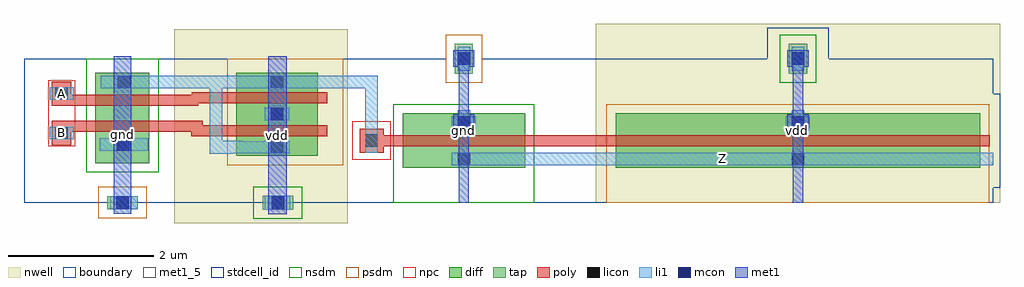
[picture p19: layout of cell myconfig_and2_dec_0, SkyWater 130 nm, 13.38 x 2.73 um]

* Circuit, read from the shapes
.subckt myconfig_and2_dec_0 A B Z gnd vdd
XM1 n1 B gnd gnd sky130_fd_pr__nfet_01v8 w=0.74 l=0.15
XM2 myconfig_pinv_dec_0_1/A A n1 gnd sky130_fd_pr__nfet_01v8 w=0.74 l=0.15
XM3 gnd myconfig_pinv_dec_0_1/A Z gnd sky130_fd_pr__nfet_01v8 w=1.68 l=0.15
XM4 vdd B myconfig_pinv_dec_0_1/A vdd sky130_fd_pr__pfet_01v8 w=1.12 l=0.15
XM5 myconfig_pinv_dec_0_1/A A vdd vdd sky130_fd_pr__pfet_01v8 w=1.12 l=0.15
XM6 vdd myconfig_pinv_dec_0_1/A Z vdd sky130_fd_pr__pfet_01v8 w=5 l=0.15
.ends

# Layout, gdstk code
from math import pi, radians
import gdstk
lib = gdstk.Library(unit=1e-6, precision=1e-09)
def R(c, l, rs):  # rectangles x0, y0, x1, y1
    for r in rs: c.add(gdstk.rectangle(r[:2], r[2:], *l))
nwell = (64, 20)
diff = (65, 20)
tap = (65, 44)
poly = (66, 20)
licon = (66, 44)
li1 = (67, 20)
mcon = (67, 44)
met1_5 = (68, 5)
met1 = (68, 20)
stdcell_id = (81, 4)
nsdm = (93, 44)
psdm = (94, 20)
npc = (95, 20)
boundary = (235, 4)

sky130_fd_bd_sram__openr = lib.new_cell('sky130_fd_bd_sram__openram_dp_nand2_dec')
R(sky130_fd_bd_sram__openr, nwell, [(2.06,-0.28,4.44,2.38)])
R(sky130_fd_bd_sram__openr, diff, [(0.98,0.54,1.72,1.78), (2.91,0.64,4.03,1.78)])
R(sky130_fd_bd_sram__openr, tap, [(3.27,-0.095,3.69,0.095), (1.14,-0.09,1.56,0.09)])
R(sky130_fd_bd_sram__openr, poly, [(0.38,0.79,0.65,0.97), (2.29,0.91,4.16,0.97), (0.38,0.97,4.16,1.06), (0.38,1.06,2.45,1.12), (0.38,1.33,2.39,1.36), (0.38,1.36,4.16,1.48), (0.38,1.48,0.65,1.66), (2.3,1.48,4.16,1.51)])
R(sky130_fd_bd_sram__openr, licon, [(1.265,-0.085,1.435,0.085), (3.395,-0.085,3.565,0.085), (3.385,0.68,3.555,0.85), (1.295,0.71,1.465,0.88), (0.43,0.87,0.6,1.04), (3.385,1.13,3.555,1.3), (0.43,1.41,0.6,1.58), (1.285,1.57,1.455,1.74), (3.385,1.57,3.555,1.74)])
R(sky130_fd_bd_sram__openr, li1, [(3.3,-0.095,3.65,0.095), (1.18,-0.09,1.56,0.09), (2.545,0.67,2.86,0.675), (2.545,0.675,3.425,0.68), (2.545,0.68,3.64,0.845), (1.04,0.71,1.7,0.88), (2.545,0.845,2.99,0.85), (3.3,0.845,3.64,0.85), (2.545,0.85,2.715,1.57), (0.35,0.87,0.68,1.04), (0.35,0.87,0.68,1.04), (3.3,1.13,3.635,1.3), (0.35,1.41,0.68,1.58), (0.35,1.41,0.68,1.58), (1.05,1.57,4.44,1.74), (1.05,1.57,4.44,1.74)])
R(sky130_fd_bd_sram__openr, mcon, [(1.265,-0.085,1.435,0.085), (3.395,-0.085,3.565,0.085), (1.27,0.71,1.44,0.88), (3.385,1.13,3.555,1.3)])
R(sky130_fd_bd_sram__openr, met1_5, [(3.35,-0.16,3.6,2.01), (1.23,-0.15,1.47,2.01)])
R(sky130_fd_bd_sram__openr, met1, [(3.35,-0.16,3.6,2.01), (3.35,-0.16,3.6,2.01), (1.23,-0.15,1.47,2.01), (1.23,-0.15,1.47,2.01)])
R(sky130_fd_bd_sram__openr, nsdm, [(3.145,-0.22,3.815,0.22), (0.855,0.415,1.845,1.975)])
R(sky130_fd_bd_sram__openr, psdm, [(1.015,-0.215,1.685,0.215), (2.785,0.515,4.38,1.975)])
R(sky130_fd_bd_sram__openr, npc, [(0.33,0.77,0.7,1.68)])
R(sky130_fd_bd_sram__openr, boundary, [(0,0,4.38,1.975)])
sky130_fd_bd_sram__openr.add(gdstk.Label('GND', (1.34,0.41), layer=68, texttype=16))
sky130_fd_bd_sram__openr.add(gdstk.Label('VDD', (3.48,0.47), layer=68, texttype=16))
sky130_fd_bd_sram__openr.add(gdstk.Label('B', (0.515,0.955), layer=67, texttype=16))
sky130_fd_bd_sram__openr.add(gdstk.Label('A', (0.515,1.495), layer=67, texttype=16))
sky130_fd_bd_sram__openr.add(gdstk.Label('Z', (4.27,1.655), layer=67, texttype=16))
sky130_fd_bd_sram__openr.add(gdstk.Label('A', (0.515,1.495), layer=67, texttype=5))
sky130_fd_bd_sram__openr.add(gdstk.Label('B', (0.515,0.955), layer=67, texttype=5))
sky130_fd_bd_sram__openr.add(gdstk.Label('Z', (2.745,1.655), layer=67, texttype=5))
sky130_fd_bd_sram__openr.add(gdstk.Label('vdd', (3.475,0.925), layer=68, texttype=5))
sky130_fd_bd_sram__openr.add(gdstk.Label('gnd', (1.35,0.93), layer=68, texttype=5))

myconfig_contact_11 = lib.new_cell('myconfig_contact_11')
R(myconfig_contact_11, nwell, [(-0.295,-0.255,0.545,0.585)])
R(myconfig_contact_11, diff, [(0,0.02,0.25,0.31)])
R(myconfig_contact_11, licon, [(0.04,0.08,0.21,0.25)])
R(myconfig_contact_11, li1, [(0.04,0,0.21,0.33)])
R(myconfig_contact_11, stdcell_id, [(-0.295,-0.255,0.545,0.585)])
R(myconfig_contact_11, psdm, [(-0.125,-0.105,0.375,0.435)])
R(myconfig_contact_11, boundary, [(-0.295,-0.255,0.545,0.585)])

myconfig_pmos_m1_w5_000_ = lib.new_cell('myconfig_pmos_m1_w5_000_sli_dli_da_p')
R(myconfig_pmos_m1_w5_000_, nwell, [(-0.27,-0.27,1.02,5.27)])
R(myconfig_pmos_m1_w5_000_, diff, [(0,0,0.75,5)])
R(myconfig_pmos_m1_w5_000_, poly, [(0.3,-0.13,0.45,5.13), (0.3,-0.13,0.45,5.13)])
R(myconfig_pmos_m1_w5_000_, li1, [(0.04,2.335,0.21,2.665), (0.54,2.335,0.71,2.665)])
R(myconfig_pmos_m1_w5_000_, stdcell_id, [(-0.27,-0.27,1.02,5.27)])
R(myconfig_pmos_m1_w5_000_, psdm, [(-0.125,-0.125,0.875,5.125)])
R(myconfig_pmos_m1_w5_000_, boundary, [(-0.27,-0.27,1.02,5.27)])
myconfig_pmos_m1_w5_000_.add(gdstk.Reference(myconfig_contact_11, (0,2.335)))
myconfig_pmos_m1_w5_000_.add(gdstk.Reference(myconfig_contact_11, (0.5,2.335)))
myconfig_pmos_m1_w5_000_.add(gdstk.Label('G', (0.375,2.5), layer=66, texttype=5))
myconfig_pmos_m1_w5_000_.add(gdstk.Label('S', (0.125,2.5), layer=67, texttype=5))
myconfig_pmos_m1_w5_000_.add(gdstk.Label('D', (0.625,2.5), layer=67, texttype=5))

myconfig_contact_10 = lib.new_cell('myconfig_contact_10')
R(myconfig_contact_10, diff, [(0,0.02,0.25,0.31)])
R(myconfig_contact_10, licon, [(0.04,0.08,0.21,0.25)])
R(myconfig_contact_10, li1, [(0.04,0,0.21,0.33)])
R(myconfig_contact_10, stdcell_id, [(-0.125,-0.105,0.375,0.435)])
R(myconfig_contact_10, nsdm, [(-0.125,-0.105,0.375,0.435)])
R(myconfig_contact_10, boundary, [(-0.125,-0.105,0.375,0.435)])

myconfig_nmos_m1_w1_680_ = lib.new_cell('myconfig_nmos_m1_w1_680_sli_dli_da_p')
R(myconfig_nmos_m1_w1_680_, diff, [(0,0,0.75,1.68)])
R(myconfig_nmos_m1_w1_680_, poly, [(0.3,-0.13,0.45,1.81), (0.3,-0.13,0.45,1.81)])
R(myconfig_nmos_m1_w1_680_, li1, [(0.04,0.675,0.21,1.005), (0.54,0.675,0.71,1.005)])
R(myconfig_nmos_m1_w1_680_, stdcell_id, [(-0.125,-0.13,0.875,1.81)])
R(myconfig_nmos_m1_w1_680_, nsdm, [(-0.125,-0.125,0.875,1.805)])
R(myconfig_nmos_m1_w1_680_, boundary, [(-0.125,-0.13,0.875,1.81)])
myconfig_nmos_m1_w1_680_.add(gdstk.Reference(myconfig_contact_10, (0,0.675)))
myconfig_nmos_m1_w1_680_.add(gdstk.Reference(myconfig_contact_10, (0.5,0.675)))
myconfig_nmos_m1_w1_680_.add(gdstk.Label('G', (0.375,0.84), layer=66, texttype=5))
myconfig_nmos_m1_w1_680_.add(gdstk.Label('S', (0.125,0.84), layer=67, texttype=5))
myconfig_nmos_m1_w1_680_.add(gdstk.Label('D', (0.625,0.84), layer=67, texttype=5))

myconfig_contact_12 = lib.new_cell('myconfig_contact_12')
R(myconfig_contact_12, nwell, [(-0.295,-0.215,0.545,0.625)])
R(myconfig_contact_12, tap, [(0,0,0.25,0.41)])
R(myconfig_contact_12, licon, [(0.04,0.12,0.21,0.29)])
R(myconfig_contact_12, li1, [(0.04,0.04,0.21,0.37)])
R(myconfig_contact_12, stdcell_id, [(-0.295,-0.215,0.545,0.625)])
R(myconfig_contact_12, nsdm, [(-0.125,-0.125,0.375,0.535)])
R(myconfig_contact_12, boundary, [(-0.295,-0.215,0.545,0.625)])

myconfig_contact_13 = lib.new_cell('myconfig_contact_13')
R(myconfig_contact_13, li1, [(0.06,0,0.23,0.33)])
R(myconfig_contact_13, mcon, [(0.06,0.08,0.23,0.25)])
R(myconfig_contact_13, met1, [(0,0.05,0.29,0.28)])
R(myconfig_contact_13, stdcell_id, [(0,0,0.29,0.33)])
R(myconfig_contact_13, boundary, [(0,0,0.29,0.33)])

myconfig_contact_14 = lib.new_cell('myconfig_contact_14')
R(myconfig_contact_14, tap, [(0,0,0.25,0.41)])
R(myconfig_contact_14, licon, [(0.04,0.12,0.21,0.29)])
R(myconfig_contact_14, li1, [(0.04,0.04,0.21,0.37)])
R(myconfig_contact_14, stdcell_id, [(-0.125,-0.125,0.375,0.535)])
R(myconfig_contact_14, psdm, [(-0.125,-0.125,0.375,0.535)])
R(myconfig_contact_14, boundary, [(-0.125,-0.125,0.375,0.535)])

myconfig_contact_15 = lib.new_cell('myconfig_contact_15')
R(myconfig_contact_15, poly, [(0,0,0.33,0.33)])
R(myconfig_contact_15, licon, [(0.08,0.08,0.25,0.25)])
R(myconfig_contact_15, li1, [(0.08,0,0.25,0.33)])
R(myconfig_contact_15, stdcell_id, [(-0.1,-0.1,0.43,0.43)])
R(myconfig_contact_15, npc, [(-0.1,-0.1,0.43,0.43)])
R(myconfig_contact_15, boundary, [(-0.1,-0.1,0.43,0.43)])

myconfig_pinv_dec_0 = lib.new_cell('myconfig_pinv_dec_0')
R(myconfig_pinv_dec_0, nwell, [(3.46,0,9,2.45)])
R(myconfig_pinv_dec_0, poly, [(0.385,0.775,0.68,0.925), (2.62,0.775,3.6,0.925)])
R(myconfig_pinv_dec_0, li1, [(1.485,0.515,8.91,0.685), (0.3,0.685,0.47,1.015)])
R(myconfig_pinv_dec_0, met1_5, [(1.58,0,1.72,1.975), (6.16,0,6.3,1.975)])
R(myconfig_pinv_dec_0, met1, [(1.58,0,1.72,1.975), (6.16,0,6.3,1.975)])
R(myconfig_pinv_dec_0, stdcell_id, [(0,0,8.91,1.975), (0,0,8.91,1.975)])
R(myconfig_pinv_dec_0, nsdm, [(0.685,0,2.615,1.225)])
R(myconfig_pinv_dec_0, psdm, [(3.605,0,8.855,1.225)])
R(myconfig_pinv_dec_0, boundary, [(0,0,8.91,1.975), (0,0,8.91,1.975)])
myconfig_pinv_dec_0.add(gdstk.Reference(myconfig_pmos_m1_w5_000_, (3.73,1.225), rotation=3*pi/2))
myconfig_pinv_dec_0.add(gdstk.Reference(myconfig_nmos_m1_w1_680_, (0.81,1.225), rotation=3*pi/2))
myconfig_pinv_dec_0.add(gdstk.Reference(myconfig_contact_12, (6.105,1.77)))
myconfig_pinv_dec_0.add(gdstk.Reference(myconfig_contact_13, (6.085,1.81)))
myconfig_pinv_dec_0.add(gdstk.Reference(myconfig_contact_14, (1.525,1.77)))
myconfig_pinv_dec_0.add(gdstk.Reference(myconfig_contact_13, (1.505,1.81)))
myconfig_pinv_dec_0.add(gdstk.Reference(myconfig_contact_15, (0.22,0.685)))
myconfig_pinv_dec_0.add(gdstk.Reference(myconfig_contact_13, (1.505,0.935)))
myconfig_pinv_dec_0.add(gdstk.Reference(myconfig_contact_13, (6.085,0.935)))
myconfig_pinv_dec_0.add(gdstk.Label('A', (0.385,0.85), layer=67, texttype=5))
myconfig_pinv_dec_0.add(gdstk.Label('Z', (5.198,0.6), layer=67, texttype=5))
myconfig_pinv_dec_0.add(gdstk.Label('gnd', (1.65,0.988), layer=68, texttype=5))
myconfig_pinv_dec_0.add(gdstk.Label('vdd', (6.23,0.988), layer=68, texttype=5))

myconfig_and2_dec_0 = lib.new_cell('myconfig_and2_dec_0')
R(myconfig_and2_dec_0, li1, [(5.865,0.515,13.29,0.685), (4.68,0.85,4.85,1.655), (0.35,0.87,0.68,1.04), (0.35,1.41,0.68,1.58), (2.745,1.57,4.765,1.74), (4.68,1.57,4.85,1.74)])
R(myconfig_and2_dec_0, met1_5, [(3.35,-0.16,3.6,2.01), (1.23,-0.15,1.47,2.01), (5.96,0,6.1,1.975), (10.54,0,10.68,1.975)])
R(myconfig_and2_dec_0, met1, [(3.35,-0.16,3.6,2.01), (1.23,-0.15,1.47,2.01), (5.96,0,6.1,1.975), (10.54,0,10.68,1.975)])
R(myconfig_and2_dec_0, stdcell_id, [(0,0,13.29,1.975)])
R(myconfig_and2_dec_0, boundary, [(0,0,13.29,1.975)])
myconfig_and2_dec_0.add(gdstk.Reference(sky130_fd_bd_sram__openr, (0,0)))
myconfig_and2_dec_0.add(gdstk.Reference(myconfig_pinv_dec_0, (4.38,0)))
myconfig_and2_dec_0.add(gdstk.Label('Z', (9.578,0.6), layer=67, texttype=5))
myconfig_and2_dec_0.add(gdstk.Label('A', (0.515,1.495), layer=67, texttype=5))
myconfig_and2_dec_0.add(gdstk.Label('B', (0.515,0.955), layer=67, texttype=5))
myconfig_and2_dec_0.add(gdstk.Label('vdd', (3.475,0.925), layer=68, texttype=5))
myconfig_and2_dec_0.add(gdstk.Label('vdd', (10.61,0.988), layer=68, texttype=5))
myconfig_and2_dec_0.add(gdstk.Label('gnd', (1.35,0.93), layer=68, texttype=5))
myconfig_and2_dec_0.add(gdstk.Label('gnd', (6.03,0.988), layer=68, texttype=5))

lib.write_gds('myconfig_and2_dec_0.gds')
